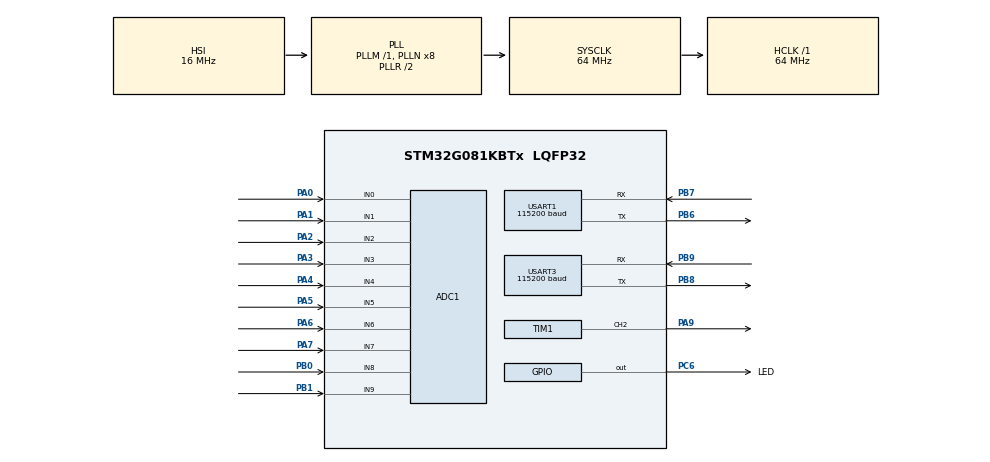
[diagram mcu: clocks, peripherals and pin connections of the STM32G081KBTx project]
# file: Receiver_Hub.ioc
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ADC1.Channel-0\#ChannelRegularConversion=ADC_CHANNEL_0
ADC1.NbrOfConversionFlag=1
ADC1.Rank-0\#ChannelRegularConversion=1
ADC1.SamplingTime-0\#ChannelRegularConversion=ADC_SAMPLINGTIME_COMMON_1
ADC1.SelectedChannel=ADC_CHANNEL_0|ADC_CHANNEL_1|ADC_CHANNEL_2|ADC_CHANNEL_3|ADC_CHANNEL_4|ADC_CHANNEL_5|ADC_CHANNEL_6|ADC_CHANNEL_7|ADC_CHANNEL_8|ADC_CHANNEL_9
ADC1.master=1
Dma.Request0=TIM1_CH2
Dma.Request1=USART1_TX
Dma.Request2=USART3_TX
Dma.TIM1_CH2.0.Direction=DMA_MEMORY_TO_PERIPH
Dma.TIM1_CH2.0.EventEnable=DISABLE
Dma.TIM1_CH2.0.Instance=DMA1_Channel1
Dma.TIM1_CH2.0.MemDataAlignment=DMA_MDATAALIGN_HALFWORD
Dma.TIM1_CH2.0.MemInc=DMA_MINC_ENABLE
Dma.TIM1_CH2.0.Mode=DMA_NORMAL
Dma.TIM1_CH2.0.PeriphDataAlignment=DMA_PDATAALIGN_HALFWORD
Dma.TIM1_CH2.0.PeriphInc=DMA_PINC_DISABLE
Dma.TIM1_CH2.0.Polarity=HAL_DMAMUX_REQ_GEN_RISING
Dma.TIM1_CH2.0.Priority=DMA_PRIORITY_HIGH
Dma.TIM1_CH2.0.RequestNumber=1
Dma.TIM1_CH2.0.SignalID=NONE
Dma.TIM1_CH2.0.SyncEnable=DISABLE
Dma.TIM1_CH2.0.SyncPolarity=HAL_DMAMUX_SYNC_NO_EVENT
Dma.TIM1_CH2.0.SyncRequestNumber=1
Dma.TIM1_CH2.0.SyncSignalID=NONE
Dma.USART1_TX.1.Direction=DMA_MEMORY_TO_PERIPH
Dma.USART1_TX.1.EventEnable=DISABLE
Dma.USART1_TX.1.Instance=DMA1_Channel2
Dma.USART1_TX.1.MemDataAlignment=DMA_MDATAALIGN_BYTE
Dma.USART1_TX.1.MemInc=DMA_MINC_ENABLE
Dma.USART1_TX.1.Mode=DMA_NORMAL
Dma.USART1_TX.1.PeriphDataAlignment=DMA_PDATAALIGN_BYTE
Dma.USART1_TX.1.PeriphInc=DMA_PINC_DISABLE
Dma.USART1_TX.1.Polarity=HAL_DMAMUX_REQ_GEN_RISING
Dma.USART1_TX.1.Priority=DMA_PRIORITY_LOW
Dma.USART1_TX.1.RequestNumber=1
Dma.USART1_TX.1.SignalID=NONE
Dma.USART1_TX.1.SyncEnable=DISABLE
Dma.USART1_TX.1.SyncPolarity=HAL_DMAMUX_SYNC_NO_EVENT
Dma.USART1_TX.1.SyncRequestNumber=1
Dma.USART1_TX.1.SyncSignalID=NONE
Dma.USART3_TX.2.Direction=DMA_MEMORY_TO_PERIPH
Dma.USART3_TX.2.EventEnable=DISABLE
Dma.USART3_TX.2.Instance=DMA1_Channel3
Dma.USART3_TX.2.MemDataAlignment=DMA_MDATAALIGN_BYTE
Dma.USART3_TX.2.MemInc=DMA_MINC_ENABLE
Dma.USART3_TX.2.Mode=DMA_NORMAL
Dma.USART3_TX.2.PeriphDataAlignment=DMA_PDATAALIGN_BYTE
Dma.USART3_TX.2.PeriphInc=DMA_PINC_DISABLE
Dma.USART3_TX.2.Polarity=HAL_DMAMUX_REQ_GEN_RISING
Dma.USART3_TX.2.Priority=DMA_PRIORITY_LOW
Dma.USART3_TX.2.RequestNumber=1
Dma.USART3_TX.2.SignalID=NONE
Dma.USART3_TX.2.SyncEnable=DISABLE
Dma.USART3_TX.2.SyncPolarity=HAL_DMAMUX_SYNC_NO_EVENT
Dma.USART3_TX.2.SyncRequestNumber=1
Dma.USART3_TX.2.SyncSignalID=NONE
Mcu.Family=STM32G0
Mcu.Name=STM32G081KBTx
Mcu.Package=LQFP32
NVIC.DMA1_Channel1_IRQn=true\:0\:0\:false\:false\:true\:false\:true\:true
NVIC.DMA1_Channel2_3_IRQn=true\:0\:0\:false\:false\:true\:false\:true\:true
NVIC.USART1_IRQn=true\:0\:0\:false\:false\:true\:true\:true\:true
NVIC.USART3_4_LPUART1_IRQn=true\:0\:0\:false\:false\:true\:true\:true\:true
PA0.Mode=IN0
PA0.Signal=ADC1_IN0
PA1.Mode=IN1
PA1.Signal=ADC1_IN1
PA13.Mode=Serial_Wire
PA13.Signal=SYS_SWDIO
PA14-BOOT0.Mode=Serial_Wire
PA14-BOOT0.Signal=SYS_SWCLK
PA2.Mode=IN2
PA2.Signal=ADC1_IN2
PA3.Mode=IN3
PA3.Signal=ADC1_IN3
PA4.Mode=IN4
PA4.Signal=ADC1_IN4
PA5.Mode=IN5
PA5.Signal=ADC1_IN5
PA6.Mode=IN6
PA6.Signal=ADC1_IN6
PA7.Mode=IN7
PA7.Signal=ADC1_IN7
PA9.Signal=S_TIM1_CH2
PB0.Mode=IN8
PB0.Signal=ADC1_IN8
PB1.Mode=IN9
PB1.Signal=ADC1_IN9
PB6.Mode=Asynchronous
PB6.Signal=USART1_TX
PB7.Mode=Asynchronous
PB7.Signal=USART1_RX
PB8.Mode=Asynchronous
PB8.Signal=USART3_TX
PB9.Mode=Asynchronous
PB9.Signal=USART3_RX
PC6.GPIO_Label=LED
PC6.Signal=GPIO_Output
ProjectManager.HeapSize=0x200
ProjectManager.StackSize=0x400
ProjectManager.TargetToolchain=STM32CubeIDE
RCC.ADCFreq_Value=64000000
RCC.AHBFreq_Value=64000000
RCC.CortexFreq_Value=64000000
RCC.EXTERNAL_CLOCK_VALUE=48000
RCC.HCLKFreq_Value=64000000
RCC.HSE_VALUE=8000000
RCC.HSI_VALUE=16000000
RCC.LSE_VALUE=32768
RCC.SYSCLKFreq_VALUE=64000000
RCC.SYSCLKSource=RCC_SYSCLKSOURCE_PLLCLK
RCC.TIM1CLockSelectionVirtual=RCC_TIM1CLKSOURCE_PLL
RCC.VCOOutputFreq_Value=128000000
SH.S_TIM1_CH2.0=TIM1_CH2,PWM Generation2 CH2
TIM1.Channel-PWM\ Generation2\ CH2=TIM_CHANNEL_2
TIM1.Period=80
USART1.BaudRate=115200
USART1.RxPinLevelInvertParam=ADVFEATURE_RXINV_DISABLE
USART1.TxPinLevelInvertParam=ADVFEATURE_TXINV_DISABLE
USART1.VirtualMode-Asynchronous=VM_ASYNC
USART3.BaudRate=115200
USART3.DataInvertParam=ADVFEATURE_DATAINV_DISABLE
USART3.RxPinLevelInvertParam=ADVFEATURE_RXINV_DISABLE
USART3.TxPinLevelInvertParam=ADVFEATURE_TXINV_DISABLE
USART3.VirtualMode-Asynchronous=VM_ASYNC
VP_RNG_VS_RNG.Mode=RNG_Activate
VP_SYS_VS_DBSignals.Mode=DisableDeadBatterySignals
board=custom

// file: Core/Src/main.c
/* USER CODE BEGIN Header */
/**
  ******************************************************************************
  * @file           : main.c
  * @brief          : Main program body
  ******************************************************************************
  * @attention
  *
  * <h2><center>&copy; Copyright (c) 2021 STMicroelectronics.
  * All rights reserved.</center></h2>
  *
  * This software component is licensed by ST under BSD 3-Clause license,
  * the "License"; You may not use this file except in compliance with the
  * License. You may obtain a copy of the License at:
  *                        opensource.org/licenses/BSD-3-Clause
  *
  ******************************************************************************
  */
/* USER CODE END Header */
#include "main.h"

/* USER CODE BEGIN Includes */
#include "utils.h"
#include "uart.h"
#include "WS2812.h"
#include "sensors.h"
/* USER CODE END Includes */

ADC_HandleTypeDef hadc1;

RNG_HandleTypeDef hrng;

TIM_HandleTypeDef htim1;
DMA_HandleTypeDef hdma_tim1_ch2;

UART_HandleTypeDef huart1;
UART_HandleTypeDef huart3;
DMA_HandleTypeDef hdma_usart1_tx;
DMA_HandleTypeDef hdma_usart3_tx;

void SystemClock_Config(void);
static void MX_GPIO_Init(void);
static void MX_DMA_Init(void);
static void MX_USART1_UART_Init(void);
static void MX_USART3_UART_Init(void);
static void MX_ADC1_Init(void);
static void MX_TIM1_Init(void);
static void MX_RNG_Init(void);

int main(void)
{

  /* MCU Configuration--------------------------------------------------------*/

  /* Reset of all peripherals, Initializes the Flash interface and the Systick. */
  HAL_Init();

  /* Configure the system clock */
  SystemClock_Config();

  /* Initialize all configured peripherals */
  MX_GPIO_Init();
  MX_DMA_Init();
  MX_USART1_UART_Init();
  MX_USART3_UART_Init();
  MX_ADC1_Init();
  MX_TIM1_Init();
  MX_RNG_Init();
  /* USER CODE BEGIN 2 */
  receiveIT();
  clearSensorHistory();
  /* USER CODE END 2 */

  /* Infinite loop */
  /* USER CODE BEGIN WHILE */
  while (1)
  {
	  if (cmdReady()) {
		  abortIT();
		  processCommand();
		  // Update LEDs if needed
		  if (updateLEDs()) {
			  updateWS2812();
		  }
		  receiveIT();
	  }
    /* USER CODE END WHILE */

  }
}

void SystemClock_Config(void)
{
  RCC_OscInitTypeDef RCC_OscInitStruct = {0};
  RCC_ClkInitTypeDef RCC_ClkInitStruct = {0};

  /** Configure the main internal regulator output voltage
  */
  HAL_PWREx_ControlVoltageScaling(PWR_REGULATOR_VOLTAGE_SCALE1);

  /** Initializes the RCC Oscillators according to the specified parameters
  * in the RCC_OscInitTypeDef structure.
  */
  RCC_OscInitStruct.OscillatorType = RCC_OSCILLATORTYPE_HSI;
  RCC_OscInitStruct.HSIState = RCC_HSI_ON;
  RCC_OscInitStruct.HSIDiv = RCC_HSI_DIV1;
  RCC_OscInitStruct.HSICalibrationValue = RCC_HSICALIBRATION_DEFAULT;
  RCC_OscInitStruct.PLL.PLLState = RCC_PLL_ON;
  RCC_OscInitStruct.PLL.PLLSource = RCC_PLLSOURCE_HSI;
  RCC_OscInitStruct.PLL.PLLM = RCC_PLLM_DIV1;
  RCC_OscInitStruct.PLL.PLLN = 8;
  RCC_OscInitStruct.PLL.PLLP = RCC_PLLP_DIV2;
  RCC_OscInitStruct.PLL.PLLQ = RCC_PLLQ_DIV2;
  RCC_OscInitStruct.PLL.PLLR = RCC_PLLR_DIV2;
  if (HAL_RCC_OscConfig(&RCC_OscInitStruct) != HAL_OK)
  {
    Error_Handler();
  }

  /** Initializes the CPU, AHB and APB buses clocks
  */
  RCC_ClkInitStruct.ClockType = RCC_CLOCKTYPE_HCLK|RCC_CLOCKTYPE_SYSCLK
                              |RCC_CLOCKTYPE_PCLK1;
  RCC_ClkInitStruct.SYSCLKSource = RCC_SYSCLKSOURCE_PLLCLK;
  RCC_ClkInitStruct.AHBCLKDivider = RCC_SYSCLK_DIV1;
  RCC_ClkInitStruct.APB1CLKDivider = RCC_HCLK_DIV1;

  if (HAL_RCC_ClockConfig(&RCC_ClkInitStruct, FLASH_LATENCY_2) != HAL_OK)
  {
    Error_Handler();
  }
}

static void MX_ADC1_Init(void)
{

  ADC_ChannelConfTypeDef sConfig = {0};

  /** Configure the global features of the ADC (Clock, Resolution, Data Alignment and number of conversion)
  */
  hadc1.Instance = ADC1;
  hadc1.Init.ClockPrescaler = ADC_CLOCK_SYNC_PCLK_DIV2;
  hadc1.Init.Resolution = ADC_RESOLUTION_12B;
  hadc1.Init.DataAlign = ADC_DATAALIGN_RIGHT;
  hadc1.Init.ScanConvMode = ADC_SCAN_DISABLE;
  hadc1.Init.EOCSelection = ADC_EOC_SINGLE_CONV;
  hadc1.Init.LowPowerAutoWait = DISABLE;
  hadc1.Init.LowPowerAutoPowerOff = DISABLE;
  hadc1.Init.ContinuousConvMode = DISABLE;
  hadc1.Init.NbrOfConversion = 1;
  hadc1.Init.DiscontinuousConvMode = DISABLE;
  hadc1.Init.ExternalTrigConv = ADC_SOFTWARE_START;
  hadc1.Init.ExternalTrigConvEdge = ADC_EXTERNALTRIGCONVEDGE_NONE;
  hadc1.Init.DMAContinuousRequests = DISABLE;
  hadc1.Init.Overrun = ADC_OVR_DATA_PRESERVED;
  hadc1.Init.SamplingTimeCommon1 = ADC_SAMPLETIME_1CYCLE_5;
  hadc1.Init.SamplingTimeCommon2 = ADC_SAMPLETIME_1CYCLE_5;
  hadc1.Init.OversamplingMode = DISABLE;
  hadc1.Init.TriggerFrequencyMode = ADC_TRIGGER_FREQ_HIGH;
  if (HAL_ADC_Init(&hadc1) != HAL_OK)
  {
    Error_Handler();
  }

  /** Configure Regular Channel
  */
  sConfig.Channel = ADC_CHANNEL_0;
  sConfig.Rank = ADC_REGULAR_RANK_1;
  sConfig.SamplingTime = ADC_SAMPLINGTIME_COMMON_1;
  if (HAL_ADC_ConfigChannel(&hadc1, &sConfig) != HAL_OK)
  {
    Error_Handler();
  }

}

static void MX_RNG_Init(void)
{

  hrng.Instance = RNG;
  hrng.Init.ClockErrorDetection = RNG_CED_ENABLE;
  if (HAL_RNG_Init(&hrng) != HAL_OK)
  {
    Error_Handler();
  }

}

static void MX_TIM1_Init(void)
{

  TIM_MasterConfigTypeDef sMasterConfig = {0};
  TIM_OC_InitTypeDef sConfigOC = {0};
  TIM_BreakDeadTimeConfigTypeDef sBreakDeadTimeConfig = {0};

  htim1.Instance = TIM1;
  htim1.Init.Prescaler = 0;
  htim1.Init.CounterMode = TIM_COUNTERMODE_UP;
  htim1.Init.Period = 80;
  htim1.Init.ClockDivision = TIM_CLOCKDIVISION_DIV1;
  htim1.Init.RepetitionCounter = 0;
  htim1.Init.AutoReloadPreload = TIM_AUTORELOAD_PRELOAD_DISABLE;
  if (HAL_TIM_PWM_Init(&htim1) != HAL_OK)
  {
    Error_Handler();
  }
  sMasterConfig.MasterOutputTrigger = TIM_TRGO_RESET;
  sMasterConfig.MasterOutputTrigger2 = TIM_TRGO2_RESET;
  sMasterConfig.MasterSlaveMode = TIM_MASTERSLAVEMODE_DISABLE;
  if (HAL_TIMEx_MasterConfigSynchronization(&htim1, &sMasterConfig) != HAL_OK)
  {
    Error_Handler();
  }
  sConfigOC.OCMode = TIM_OCMODE_PWM1;
  sConfigOC.Pulse = 0;
  sConfigOC.OCPolarity = TIM_OCPOLARITY_HIGH;
  sConfigOC.OCNPolarity = TIM_OCNPOLARITY_HIGH;
  sConfigOC.OCFastMode = TIM_OCFAST_DISABLE;
  sConfigOC.OCIdleState = TIM_OCIDLESTATE_RESET;
  sConfigOC.OCNIdleState = TIM_OCNIDLESTATE_RESET;
  if (HAL_TIM_PWM_ConfigChannel(&htim1, &sConfigOC, TIM_CHANNEL_2) != HAL_OK)
  {
    Error_Handler();
  }
  sBreakDeadTimeConfig.OffStateRunMode = TIM_OSSR_DISABLE;
  sBreakDeadTimeConfig.OffStateIDLEMode = TIM_OSSI_DISABLE;
  sBreakDeadTimeConfig.LockLevel = TIM_LOCKLEVEL_OFF;
  sBreakDeadTimeConfig.DeadTime = 0;
  sBreakDeadTimeConfig.BreakState = TIM_BREAK_DISABLE;
  sBreakDeadTimeConfig.BreakPolarity = TIM_BREAKPOLARITY_HIGH;
  sBreakDeadTimeConfig.BreakFilter = 0;
  sBreakDeadTimeConfig.BreakAFMode = TIM_BREAK_AFMODE_INPUT;
  sBreakDeadTimeConfig.Break2State = TIM_BREAK2_DISABLE;
  sBreakDeadTimeConfig.Break2Polarity = TIM_BREAK2POLARITY_HIGH;
  sBreakDeadTimeConfig.Break2Filter = 0;
  sBreakDeadTimeConfig.Break2AFMode = TIM_BREAK_AFMODE_INPUT;
  sBreakDeadTimeConfig.AutomaticOutput = TIM_AUTOMATICOUTPUT_DISABLE;
  if (HAL_TIMEx_ConfigBreakDeadTime(&htim1, &sBreakDeadTimeConfig) != HAL_OK)
  {
    Error_Handler();
  }
  HAL_TIM_MspPostInit(&htim1);

}

static void MX_USART1_UART_Init(void)
{

  huart1.Instance = USART1;
  huart1.Init.BaudRate = 115200;
  huart1.Init.WordLength = UART_WORDLENGTH_8B;
  huart1.Init.StopBits = UART_STOPBITS_1;
  huart1.Init.Parity = UART_PARITY_NONE;
  huart1.Init.Mode = UART_MODE_TX_RX;
  huart1.Init.HwFlowCtl = UART_HWCONTROL_NONE;
  huart1.Init.OverSampling = UART_OVERSAMPLING_16;
  huart1.Init.OneBitSampling = UART_ONE_BIT_SAMPLE_DISABLE;
  huart1.Init.ClockPrescaler = UART_PRESCALER_DIV1;
  huart1.AdvancedInit.AdvFeatureInit = UART_ADVFEATURE_NO_INIT;
  if (HAL_UART_Init(&huart1) != HAL_OK)
  {
    Error_Handler();
  }
  if (HAL_UARTEx_SetTxFifoThreshold(&huart1, UART_TXFIFO_THRESHOLD_1_8) != HAL_OK)
  {
    Error_Handler();
  }
  if (HAL_UARTEx_SetRxFifoThreshold(&huart1, UART_RXFIFO_THRESHOLD_1_8) != HAL_OK)
  {
    Error_Handler();
  }
  if (HAL_UARTEx_DisableFifoMode(&huart1) != HAL_OK)
  {
    Error_Handler();
  }

}

static void MX_USART3_UART_Init(void)
{

  huart3.Instance = USART3;
  huart3.Init.BaudRate = 115200;
  huart3.Init.WordLength = UART_WORDLENGTH_8B;
  huart3.Init.StopBits = UART_STOPBITS_1;
  huart3.Init.Parity = UART_PARITY_NONE;
  huart3.Init.Mode = UART_MODE_TX_RX;
  huart3.Init.HwFlowCtl = UART_HWCONTROL_NONE;
  huart3.Init.OverSampling = UART_OVERSAMPLING_16;
  huart3.Init.OneBitSampling = UART_ONE_BIT_SAMPLE_DISABLE;
  huart3.Init.ClockPrescaler = UART_PRESCALER_DIV1;
  huart3.AdvancedInit.AdvFeatureInit = UART_ADVFEATURE_NO_INIT;
  if (HAL_UART_Init(&huart3) != HAL_OK)
  {
    Error_Handler();
  }

}

static void MX_DMA_Init(void)
{

  /* DMA controller clock enable */
  __HAL_RCC_DMA1_CLK_ENABLE();

  /* DMA interrupt init */
  /* DMA1_Channel1_IRQn interrupt configuration */
  HAL_NVIC_SetPriority(DMA1_Channel1_IRQn, 0, 0);
  HAL_NVIC_EnableIRQ(DMA1_Channel1_IRQn);
  /* DMA1_Channel2_3_IRQn interrupt configuration */
  HAL_NVIC_SetPriority(DMA1_Channel2_3_IRQn, 0, 0);
  HAL_NVIC_EnableIRQ(DMA1_Channel2_3_IRQn);

}

static void MX_GPIO_Init(void)
{
  GPIO_InitTypeDef GPIO_InitStruct = {0};

  /* GPIO Ports Clock Enable */
  __HAL_RCC_GPIOB_CLK_ENABLE();
  __HAL_RCC_GPIOA_CLK_ENABLE();
  __HAL_RCC_GPIOC_CLK_ENABLE();

  /*Configure GPIO pin Output Level */
  HAL_GPIO_WritePin(LED_GPIO_Port, LED_Pin, GPIO_PIN_RESET);

  /*Configure GPIO pin : LED_Pin */
  GPIO_InitStruct.Pin = LED_Pin;
  GPIO_InitStruct.Mode = GPIO_MODE_OUTPUT_PP;
  GPIO_InitStruct.Pull = GPIO_NOPULL;
  GPIO_InitStruct.Speed = GPIO_SPEED_FREQ_LOW;
  HAL_GPIO_Init(LED_GPIO_Port, &GPIO_InitStruct);

}

/* USER CODE BEGIN 4 */
TIM_HandleTypeDef* getLEDTimer() {
	return &htim1;
}
ADC_HandleTypeDef* getADCPtr() {
	return &hadc1;
}
UART_HandleTypeDef* getUFP() {
	return &huart1;
}
UART_HandleTypeDef* getDFP() {
	return &huart3;
}
RNG_HandleTypeDef* getRNG() {
	return &hrng;
}
/* USER CODE END 4 */

void Error_Handler(void)
{
  __disable_irq();
  while (1)
  {
  }
}
